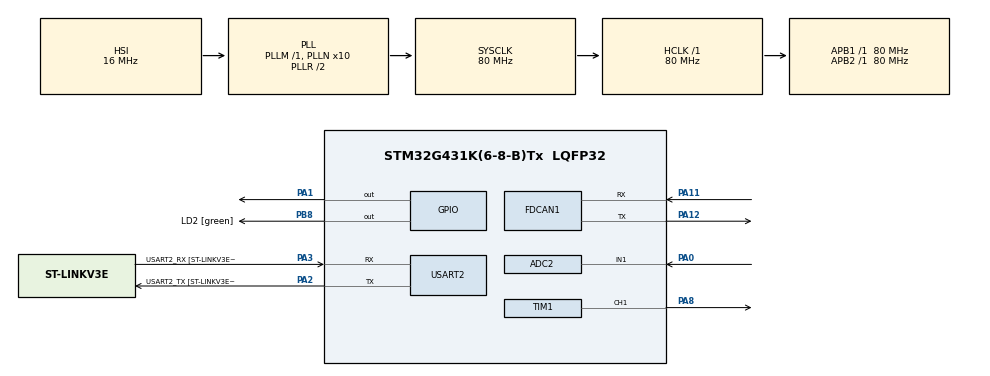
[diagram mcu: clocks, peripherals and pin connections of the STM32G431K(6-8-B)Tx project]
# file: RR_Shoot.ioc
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ADC2.Channel-2\#ChannelRegularConversion=ADC_CHANNEL_1
ADC2.NbrOfConversionFlag=1
ADC2.OffsetNumber-2\#ChannelRegularConversion=ADC_OFFSET_NONE
ADC2.Rank-2\#ChannelRegularConversion=1
ADC2.SamplingTime-2\#ChannelRegularConversion=ADC_SAMPLETIME_2CYCLES_5
FDCAN1.CalculateBaudRateNominal=1000000
FDCAN1.CalculateTimeBitNominal=1000
FDCAN1.CalculateTimeQuantumNominal=62.5
FDCAN1.DataPrescaler=2
FDCAN1.DataSyncJumpWidth=2
FDCAN1.DataTimeSeg1=10
FDCAN1.DataTimeSeg2=9
FDCAN1.FrameFormat=FDCAN_FRAME_FD_BRS
FDCAN1.NominalPrescaler=5
FDCAN1.NominalSyncJumpWidth=2
FDCAN1.NominalTimeSeg1=13
FDCAN1.StdFiltersNbr=1
Mcu.Family=STM32G4
Mcu.Name=STM32G431K(6-8-B)Tx
Mcu.Package=LQFP32
NVIC.FDCAN1_IT0_IRQn=true\:0\:0\:false\:false\:true\:true\:true\:true
NVIC.PriorityGroup=NVIC_PRIORITYGROUP_4
NVIC.TIM6_DAC_IRQn=true\:0\:0\:false\:false\:true\:true\:true\:true
PA0.Mode=IN1-Single-Ended
PA0.Signal=ADC2_IN1
PA1.Signal=GPIO_Output
PA11.Mode=FDCAN_Activate
PA11.Signal=FDCAN1_RX
PA12.Mode=FDCAN_Activate
PA12.Signal=FDCAN1_TX
PA13.GPIO_Label=T_SWDIO
PA13.Mode=Serial_Wire
PA13.Signal=SYS_JTMS-SWDIO
PA14.GPIO_Label=T_SWCLK
PA14.Mode=Serial_Wire
PA14.Signal=SYS_JTCK-SWCLK
PA2.GPIO_Label=USART2_TX [ST-LINKV3E_VCP_RX]
PA2.Mode=Asynchronous
PA2.Signal=USART2_TX
PA3.GPIO_Label=USART2_RX [ST-LINKV3E_VCP_TX]
PA3.Mode=Asynchronous
PA3.Signal=USART2_RX
PA8.Signal=S_TIM1_CH1
PB3.GPIO_Label=T_SWO
PB3.Signal=SYS_JTDO-SWO
PB8-BOOT0.GPIO_Label=LD2 [green]
PB8-BOOT0.Signal=GPIO_Output
ProjectManager.HeapSize=0x200
ProjectManager.StackSize=0x400
ProjectManager.TargetToolchain=STM32CubeIDE
RCC.ADC12Freq_Value=80000000
RCC.AHBFreq_Value=80000000
RCC.APB1Freq_Value=80000000
RCC.APB1TimFreq_Value=80000000
RCC.APB2Freq_Value=80000000
RCC.APB2TimFreq_Value=80000000
RCC.CortexFreq_Value=80000000
RCC.EXTERNAL_CLOCK_VALUE=12288000
RCC.HCLKFreq_Value=80000000
RCC.HSE_VALUE=8000000
RCC.HSI48_VALUE=48000000
RCC.HSI_VALUE=16000000
RCC.LSE_VALUE=32768
RCC.PLLN=10
RCC.SYSCLKFreq_VALUE=80000000
RCC.SYSCLKSource=RCC_SYSCLKSOURCE_PLLCLK
RCC.USBFreq_Value=80000000
RCC.VCOOutputFreq_Value=160000000
SH.S_TIM1_CH1.0=TIM1_CH1,PWM Generation1 CH1
TIM1.Channel-PWM\ Generation1\ CH1=TIM_CHANNEL_1
TIM1.PeriodNoDither=999
TIM1.Prescaler=7
TIM6.PeriodNoDither=799
TIM6.Prescaler=199
USART2.VirtualMode-Asynchronous=VM_ASYNC
USART2.WordLength=WORDLENGTH_8B
VP_TIM1_VS_ClockSourceINT.Mode=Internal
VP_TIM6_VS_ClockSourceINT.Mode=Enable_Timer
board=NUCLEO-G431KB

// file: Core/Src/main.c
/* USER CODE BEGIN Header */
//yamada:pwm>0->0
//belt:pwm>0->1

/**
  ******************************************************************************
  * @file           : main.c
  * @brief          : Main program body
  ******************************************************************************
  * @attention
  *
  * Copyright (c) 2022 STMicroelectronics.
  * All rights reserved.
  *
  * This software is licensed under terms that can be found in the LICENSE file
  * in the root directory of this software component.
  * If no LICENSE file comes with this software, it is provided AS-IS.
  *
  ******************************************************************************
  */
/* USER CODE END Header */
#include "main.h"

/* USER CODE BEGIN Includes */
#include <stdio.h>
#include <stdlib.h>
#include <math.h>

#define n 5
/* USER CODE END Includes */

ADC_HandleTypeDef hadc2;

FDCAN_HandleTypeDef hfdcan1;

TIM_HandleTypeDef htim1;
TIM_HandleTypeDef htim6;

UART_HandleTypeDef huart2;

/* USER CODE BEGIN PV */
FDCAN_TxHeaderTypeDef TxHeader;
FDCAN_RxHeaderTypeDef RxHeader;
FDCAN_FilterTypeDef sFilterConfig;

uint8_t TxData[1];
uint8_t RxData[4];
uint32_t TxMailbox;
/* USER CODE END PV */

void SystemClock_Config(void);
static void MX_GPIO_Init(void);
static void MX_USART2_UART_Init(void);
static void MX_ADC2_Init(void);
static void MX_TIM1_Init(void);
static void MX_TIM6_Init(void);
static void MX_FDCAN1_Init(void);

/* USER CODE BEGIN 0 */

float v_ref = 4.0;		//"receive from CAN" [m/s]
float reset_flag = 1;	//"receive from CAN" select mode (1:reset mode  0:shoot mode)

float ad;
float dt = 2; 		//[ms]
float l = 0;		//[mm]
float last_l = 0;	//[mm]
float last_last_l = 0;//[mm]
float v = 0;		//[m/s]
float a = 0;		//acceleration

int pwm = 0;

float kp_p = 10;	//for positioning
float kd_p = 100;	//for positioning

float kp_v = 30;	//for velocity
float kd_v = 0;		//for velocity

float kp_r = 3;	//for reset positioning
float kd_r = 100;		//for reset positioning
float ki_r = 4.5;		//for reset positioning

float e_r = 0;		//reset positioning integrate

float fil_v = 0.2;
float fil_a = 0.3;

float l_ref = 120;	//(>l_limit)
float l_limit = 100;

float l_reset = 0;	//reset positon

int __io_putchar(int ch) {
    HAL_UART_Transmit(&huart2, (uint8_t *)&ch, 1, 100);
    return ch;
}
void HAL_TIM_PeriodElapsedCallback(TIM_HandleTypeDef *htim)
{
    if (htim == &htim6)
    {
    	HAL_ADC_Start(&hadc2);						//ADC_start
    	ad += 0.3*(HAL_ADC_GetValue(&hadc2) -ad);	//get ad
    	HAL_ADC_Stop(&hadc2);						//ADC_end
    	l = 0.1908*(ad - 1723);                     //calculate l_yamada
    	//printf("%.2f\r\n",l);
    	v += fil_v*((l - last_l)/dt - v);			//caluculate v
    	a += fil_a*(l - 2*last_l + last_last_l - a);//caluculate a

    	//anti wind up
    	if(pwm > 150){
    		e_r = 0;
    	}else if(abs(l - l_reset) < 3){
    		e_r = 0;
    	}else{
    		e_r += 0.01*reset_flag*(l_reset - l);
    	}

    	//decide control type
    	if(reset_flag){
    		if(l > (l_reset + 5)){
    			pwm = -150;
    			printf("chicken\r\n");
    		}else{
    			pwm = kp_r*(l_reset - l) - kd_r*v + ki_r*e_r;
    			printf("%.2f,%d\r\n",l,pwm);
    		}
    	}else{
    		if(l > l_limit){
    			//position control
    			pwm = kp_p*(l_ref - l) - kd_p*v;
    			//printf("%.2f\r\n",l);
    		}else{
    			//velocity control
    			pwm = 300;
    			//printf("velo\r\n");
    		}
    	}

    	//decision of direction____________________
    	if(0 < pwm){
    		HAL_GPIO_WritePin(GPIOA, GPIO_PIN_1,0);//now:yamada
    	}else{
    		HAL_GPIO_WritePin(GPIOA, GPIO_PIN_1,1);//now:yamada
    	}

    	//decision of max or min pwm_______________
    	if(pwm > 980){
    		pwm = 980;
    	}else if(pwm < -980){
    		pwm = -980;
    	}
    	//_________________________________________

    	pwm = abs(pwm);
    	//pwm = 990 - abs(pwm);			//offset pwm
    	last_last_l = last_l;			//retention last_l
    	last_l = l;						//retention l
    }
}
/* USER CODE END 0 */

int main(void)
{

  /* MCU Configuration--------------------------------------------------------*/

  /* Reset of all peripherals, Initializes the Flash interface and the Systick. */
  HAL_Init();

  /* Configure the system clock */
  SystemClock_Config();

  /* Initialize all configured peripherals */
  MX_GPIO_Init();
  MX_USART2_UART_Init();
  MX_ADC2_Init();
  MX_TIM1_Init();
  MX_TIM6_Init();
  MX_FDCAN1_Init();
  /* USER CODE BEGIN 2 */
    TxHeader.Identifier = 0x512;
    TxHeader.IdType = FDCAN_STANDARD_ID;
    TxHeader.TxFrameType = FDCAN_DATA_FRAME;
    TxHeader.DataLength = FDCAN_DLC_BYTES_1;
    TxHeader.ErrorStateIndicator = FDCAN_ESI_ACTIVE;
    TxHeader.BitRateSwitch = FDCAN_BRS_ON;
    TxHeader.FDFormat = FDCAN_FD_CAN;
    TxHeader.TxEventFifoControl = FDCAN_NO_TX_EVENTS;
    TxHeader.MessageMarker = 0;

    FDCAN_FilterTypeDef sFilterConfig;
    sFilterConfig.IdType = FDCAN_STANDARD_ID;
    sFilterConfig.FilterIndex = 0;
    sFilterConfig.FilterType = FDCAN_FILTER_DUAL;
    sFilterConfig.FilterConfig = FDCAN_FILTER_TO_RXFIFO0;
    sFilterConfig.FilterID1 = 0x051;
    sFilterConfig.FilterID2 = 0x202;

    if (HAL_FDCAN_ConfigFilter(&hfdcan1, &sFilterConfig) != HAL_OK) {
        Error_Handler();
    }
    if (HAL_FDCAN_ConfigGlobalFilter(&hfdcan1, FDCAN_REJECT, FDCAN_REJECT, FDCAN_FILTER_REMOTE, FDCAN_FILTER_REMOTE) !=
        HAL_OK) {
        Error_Handler();
    }

    /* Start the FDCAN module */
    if (HAL_FDCAN_Start(&hfdcan1) != HAL_OK) {
        Error_Handler();
    }
    if (HAL_FDCAN_ActivateNotification(&hfdcan1, FDCAN_IT_RX_FIFO0_NEW_MESSAGE, 0) != HAL_OK){
        Error_Handler();
    }
  /* USER CODE END 2 */

  /* Infinite loop */
  /* USER CODE BEGIN WHILE */
  setbuf(stdout, NULL);
  HAL_TIM_PWM_Start(&htim1, TIM_CHANNEL_1);
  HAL_TIM_Base_Start_IT(&htim6);
  while (1)
  {
	  __HAL_TIM_SET_COMPARE(&htim1, TIM_CHANNEL_1, pwm);

	  //HAL_TIM_PWM_Stop(&htim1, TIM_CHANNEL_1);
      if (reset_flag == 0){
          HAL_Delay(300);
          reset_flag = 1;

          // 次の行程へCAN通信
          TxHeader.Identifier = 0x302;
          TxData[0] = 0x04;
          if (HAL_FDCAN_AddMessageToTxFifoQ(&hfdcan1, &TxHeader, TxData) != HAL_OK)
          {
              Error_Handler();
          }
      }
    /* USER CODE END WHILE */

  }
}

void SystemClock_Config(void)
{
  RCC_OscInitTypeDef RCC_OscInitStruct = {0};
  RCC_ClkInitTypeDef RCC_ClkInitStruct = {0};

  /** Configure the main internal regulator output voltage
  */
  HAL_PWREx_ControlVoltageScaling(PWR_REGULATOR_VOLTAGE_SCALE1);

  /** Initializes the RCC Oscillators according to the specified parameters
  * in the RCC_OscInitTypeDef structure.
  */
  RCC_OscInitStruct.OscillatorType = RCC_OSCILLATORTYPE_HSI;
  RCC_OscInitStruct.HSIState = RCC_HSI_ON;
  RCC_OscInitStruct.HSICalibrationValue = RCC_HSICALIBRATION_DEFAULT;
  RCC_OscInitStruct.PLL.PLLState = RCC_PLL_ON;
  RCC_OscInitStruct.PLL.PLLSource = RCC_PLLSOURCE_HSI;
  RCC_OscInitStruct.PLL.PLLM = RCC_PLLM_DIV1;
  RCC_OscInitStruct.PLL.PLLN = 10;
  RCC_OscInitStruct.PLL.PLLP = RCC_PLLP_DIV2;
  RCC_OscInitStruct.PLL.PLLQ = RCC_PLLQ_DIV2;
  RCC_OscInitStruct.PLL.PLLR = RCC_PLLR_DIV2;
  if (HAL_RCC_OscConfig(&RCC_OscInitStruct) != HAL_OK)
  {
    Error_Handler();
  }

  /** Initializes the CPU, AHB and APB buses clocks
  */
  RCC_ClkInitStruct.ClockType = RCC_CLOCKTYPE_HCLK|RCC_CLOCKTYPE_SYSCLK
                              |RCC_CLOCKTYPE_PCLK1|RCC_CLOCKTYPE_PCLK2;
  RCC_ClkInitStruct.SYSCLKSource = RCC_SYSCLKSOURCE_PLLCLK;
  RCC_ClkInitStruct.AHBCLKDivider = RCC_SYSCLK_DIV1;
  RCC_ClkInitStruct.APB1CLKDivider = RCC_HCLK_DIV1;
  RCC_ClkInitStruct.APB2CLKDivider = RCC_HCLK_DIV1;

  if (HAL_RCC_ClockConfig(&RCC_ClkInitStruct, FLASH_LATENCY_2) != HAL_OK)
  {
    Error_Handler();
  }
}

static void MX_ADC2_Init(void)
{

  ADC_ChannelConfTypeDef sConfig = {0};

  /** Common config
  */
  hadc2.Instance = ADC2;
  hadc2.Init.ClockPrescaler = ADC_CLOCK_SYNC_PCLK_DIV2;
  hadc2.Init.Resolution = ADC_RESOLUTION_12B;
  hadc2.Init.DataAlign = ADC_DATAALIGN_RIGHT;
  hadc2.Init.GainCompensation = 0;
  hadc2.Init.ScanConvMode = ADC_SCAN_DISABLE;
  hadc2.Init.EOCSelection = ADC_EOC_SINGLE_CONV;
  hadc2.Init.LowPowerAutoWait = DISABLE;
  hadc2.Init.ContinuousConvMode = DISABLE;
  hadc2.Init.NbrOfConversion = 1;
  hadc2.Init.DiscontinuousConvMode = DISABLE;
  hadc2.Init.ExternalTrigConv = ADC_SOFTWARE_START;
  hadc2.Init.ExternalTrigConvEdge = ADC_EXTERNALTRIGCONVEDGE_NONE;
  hadc2.Init.DMAContinuousRequests = DISABLE;
  hadc2.Init.Overrun = ADC_OVR_DATA_PRESERVED;
  hadc2.Init.OversamplingMode = DISABLE;
  if (HAL_ADC_Init(&hadc2) != HAL_OK)
  {
    Error_Handler();
  }

  /** Configure Regular Channel
  */
  sConfig.Channel = ADC_CHANNEL_1;
  sConfig.Rank = ADC_REGULAR_RANK_1;
  sConfig.SamplingTime = ADC_SAMPLETIME_2CYCLES_5;
  sConfig.SingleDiff = ADC_SINGLE_ENDED;
  sConfig.OffsetNumber = ADC_OFFSET_NONE;
  sConfig.Offset = 0;
  if (HAL_ADC_ConfigChannel(&hadc2, &sConfig) != HAL_OK)
  {
    Error_Handler();
  }

}

static void MX_FDCAN1_Init(void)
{

  hfdcan1.Instance = FDCAN1;
  hfdcan1.Init.ClockDivider = FDCAN_CLOCK_DIV1;
  hfdcan1.Init.FrameFormat = FDCAN_FRAME_FD_BRS;
  hfdcan1.Init.Mode = FDCAN_MODE_NORMAL;
  hfdcan1.Init.AutoRetransmission = DISABLE;
  hfdcan1.Init.TransmitPause = DISABLE;
  hfdcan1.Init.ProtocolException = DISABLE;
  hfdcan1.Init.NominalPrescaler = 5;
  hfdcan1.Init.NominalSyncJumpWidth = 2;
  hfdcan1.Init.NominalTimeSeg1 = 13;
  hfdcan1.Init.NominalTimeSeg2 = 2;
  hfdcan1.Init.DataPrescaler = 2;
  hfdcan1.Init.DataSyncJumpWidth = 2;
  hfdcan1.Init.DataTimeSeg1 = 10;
  hfdcan1.Init.DataTimeSeg2 = 9;
  hfdcan1.Init.StdFiltersNbr = 1;
  hfdcan1.Init.ExtFiltersNbr = 0;
  hfdcan1.Init.TxFifoQueueMode = FDCAN_TX_FIFO_OPERATION;
  if (HAL_FDCAN_Init(&hfdcan1) != HAL_OK)
  {
    Error_Handler();
  }

}

static void MX_TIM1_Init(void)
{

  TIM_ClockConfigTypeDef sClockSourceConfig = {0};
  TIM_MasterConfigTypeDef sMasterConfig = {0};
  TIM_OC_InitTypeDef sConfigOC = {0};
  TIM_BreakDeadTimeConfigTypeDef sBreakDeadTimeConfig = {0};

  htim1.Instance = TIM1;
  htim1.Init.Prescaler = 7;
  htim1.Init.CounterMode = TIM_COUNTERMODE_UP;
  htim1.Init.Period = 999;
  htim1.Init.ClockDivision = TIM_CLOCKDIVISION_DIV1;
  htim1.Init.RepetitionCounter = 0;
  htim1.Init.AutoReloadPreload = TIM_AUTORELOAD_PRELOAD_DISABLE;
  if (HAL_TIM_Base_Init(&htim1) != HAL_OK)
  {
    Error_Handler();
  }
  sClockSourceConfig.ClockSource = TIM_CLOCKSOURCE_INTERNAL;
  if (HAL_TIM_ConfigClockSource(&htim1, &sClockSourceConfig) != HAL_OK)
  {
    Error_Handler();
  }
  if (HAL_TIM_PWM_Init(&htim1) != HAL_OK)
  {
    Error_Handler();
  }
  sMasterConfig.MasterOutputTrigger = TIM_TRGO_RESET;
  sMasterConfig.MasterOutputTrigger2 = TIM_TRGO2_RESET;
  sMasterConfig.MasterSlaveMode = TIM_MASTERSLAVEMODE_DISABLE;
  if (HAL_TIMEx_MasterConfigSynchronization(&htim1, &sMasterConfig) != HAL_OK)
  {
    Error_Handler();
  }
  sConfigOC.OCMode = TIM_OCMODE_PWM1;
  sConfigOC.Pulse = 0;
  sConfigOC.OCPolarity = TIM_OCPOLARITY_HIGH;
  sConfigOC.OCNPolarity = TIM_OCNPOLARITY_HIGH;
  sConfigOC.OCFastMode = TIM_OCFAST_DISABLE;
  sConfigOC.OCIdleState = TIM_OCIDLESTATE_RESET;
  sConfigOC.OCNIdleState = TIM_OCNIDLESTATE_RESET;
  if (HAL_TIM_PWM_ConfigChannel(&htim1, &sConfigOC, TIM_CHANNEL_1) != HAL_OK)
  {
    Error_Handler();
  }
  sBreakDeadTimeConfig.OffStateRunMode = TIM_OSSR_DISABLE;
  sBreakDeadTimeConfig.OffStateIDLEMode = TIM_OSSI_DISABLE;
  sBreakDeadTimeConfig.LockLevel = TIM_LOCKLEVEL_OFF;
  sBreakDeadTimeConfig.DeadTime = 0;
  sBreakDeadTimeConfig.BreakState = TIM_BREAK_DISABLE;
  sBreakDeadTimeConfig.BreakPolarity = TIM_BREAKPOLARITY_HIGH;
  sBreakDeadTimeConfig.BreakFilter = 0;
  sBreakDeadTimeConfig.BreakAFMode = TIM_BREAK_AFMODE_INPUT;
  sBreakDeadTimeConfig.Break2State = TIM_BREAK2_DISABLE;
  sBreakDeadTimeConfig.Break2Polarity = TIM_BREAK2POLARITY_HIGH;
  sBreakDeadTimeConfig.Break2Filter = 0;
  sBreakDeadTimeConfig.Break2AFMode = TIM_BREAK_AFMODE_INPUT;
  sBreakDeadTimeConfig.AutomaticOutput = TIM_AUTOMATICOUTPUT_DISABLE;
  if (HAL_TIMEx_ConfigBreakDeadTime(&htim1, &sBreakDeadTimeConfig) != HAL_OK)
  {
    Error_Handler();
  }
  HAL_TIM_MspPostInit(&htim1);

}

static void MX_TIM6_Init(void)
{

  TIM_MasterConfigTypeDef sMasterConfig = {0};

  htim6.Instance = TIM6;
  htim6.Init.Prescaler = 199;
  htim6.Init.CounterMode = TIM_COUNTERMODE_UP;
  htim6.Init.Period = 799;
  htim6.Init.AutoReloadPreload = TIM_AUTORELOAD_PRELOAD_DISABLE;
  if (HAL_TIM_Base_Init(&htim6) != HAL_OK)
  {
    Error_Handler();
  }
  sMasterConfig.MasterOutputTrigger = TIM_TRGO_RESET;
  sMasterConfig.MasterSlaveMode = TIM_MASTERSLAVEMODE_DISABLE;
  if (HAL_TIMEx_MasterConfigSynchronization(&htim6, &sMasterConfig) != HAL_OK)
  {
    Error_Handler();
  }

}

static void MX_USART2_UART_Init(void)
{

  huart2.Instance = USART2;
  huart2.Init.BaudRate = 115200;
  huart2.Init.WordLength = UART_WORDLENGTH_8B;
  huart2.Init.StopBits = UART_STOPBITS_1;
  huart2.Init.Parity = UART_PARITY_NONE;
  huart2.Init.Mode = UART_MODE_TX_RX;
  huart2.Init.HwFlowCtl = UART_HWCONTROL_NONE;
  huart2.Init.OverSampling = UART_OVERSAMPLING_16;
  huart2.Init.OneBitSampling = UART_ONE_BIT_SAMPLE_DISABLE;
  huart2.Init.ClockPrescaler = UART_PRESCALER_DIV1;
  huart2.AdvancedInit.AdvFeatureInit = UART_ADVFEATURE_NO_INIT;
  if (HAL_UART_Init(&huart2) != HAL_OK)
  {
    Error_Handler();
  }
  if (HAL_UARTEx_SetTxFifoThreshold(&huart2, UART_TXFIFO_THRESHOLD_1_8) != HAL_OK)
  {
    Error_Handler();
  }
  if (HAL_UARTEx_SetRxFifoThreshold(&huart2, UART_RXFIFO_THRESHOLD_1_8) != HAL_OK)
  {
    Error_Handler();
  }
  if (HAL_UARTEx_DisableFifoMode(&huart2) != HAL_OK)
  {
    Error_Handler();
  }

}

static void MX_GPIO_Init(void)
{
  GPIO_InitTypeDef GPIO_InitStruct = {0};

  /* GPIO Ports Clock Enable */
  __HAL_RCC_GPIOA_CLK_ENABLE();
  __HAL_RCC_GPIOB_CLK_ENABLE();

  /*Configure GPIO pin Output Level */
  HAL_GPIO_WritePin(GPIOA, GPIO_PIN_1, GPIO_PIN_RESET);

  /*Configure GPIO pin Output Level */
  HAL_GPIO_WritePin(LD2_GPIO_Port, LD2_Pin, GPIO_PIN_RESET);

  /*Configure GPIO pin : PA1 */
  GPIO_InitStruct.Pin = GPIO_PIN_1;
  GPIO_InitStruct.Mode = GPIO_MODE_OUTPUT_PP;
  GPIO_InitStruct.Pull = GPIO_NOPULL;
  GPIO_InitStruct.Speed = GPIO_SPEED_FREQ_LOW;
  HAL_GPIO_Init(GPIOA, &GPIO_InitStruct);

  /*Configure GPIO pin : LD2_Pin */
  GPIO_InitStruct.Pin = LD2_Pin;
  GPIO_InitStruct.Mode = GPIO_MODE_OUTPUT_PP;
  GPIO_InitStruct.Pull = GPIO_NOPULL;
  GPIO_InitStruct.Speed = GPIO_SPEED_FREQ_LOW;
  HAL_GPIO_Init(LD2_GPIO_Port, &GPIO_InitStruct);

}

/* USER CODE BEGIN 4 */
void HAL_FDCAN_RxFifo0Callback(FDCAN_HandleTypeDef *hfdcan1, uint32_t RxFifo0ITs) {
    if ((RxFifo0ITs & FDCAN_IT_RX_FIFO0_NEW_MESSAGE) != RESET) {
        /* Retrieve Rx messages from RX FIFO0 */
        if (HAL_FDCAN_GetRxMessage(hfdcan1, FDCAN_RX_FIFO0, &RxHeader, RxData) != HAL_OK) {
            Error_Handler();
        }

        if ((RxHeader.Identifier == 0x202)) {
            union {
                uint8_t bytes[4];
                float data;
            }Velocity_Data;
            for (int i = 0; i < 4; ++i) {
                Velocity_Data.data[i] = RxData[i]
            }
            v_ref = Velocity_Data.data;
            reset_flag = 0;
        }
        if ((RxHeader.Identifier == 0x051)) {
            v_ref = 0;
            reset_flag = 1;
        }
    }
}
/* USER CODE END 4 */

void Error_Handler(void)
{
  __disable_irq();
  while (1)
  {
  }
}
